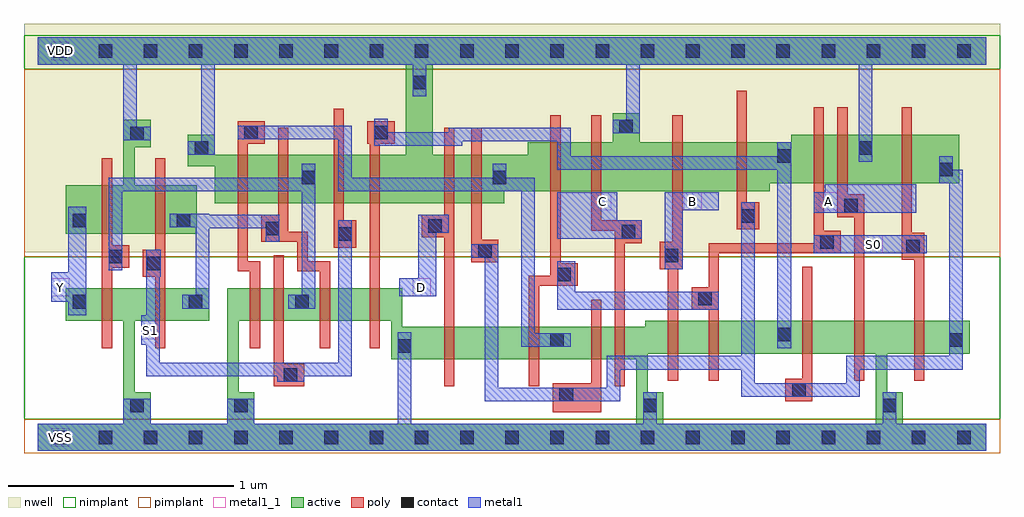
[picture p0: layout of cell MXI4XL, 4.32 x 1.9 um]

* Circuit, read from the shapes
.subckt MXI4XL A B C D S0 S1 VDD VSS Y
M1 VSS n1 Y VSS nfet w=0.145u l=0.045u
M2 n2 S1 VSS VSS nfet w=0.145u l=0.045u
M3 n3 n4 VSS VSS nfet w=0.145u l=0.045u
M4 n1 S1 n3 VSS nfet w=0.145u l=0.045u
M5 n5 n2 n1 VSS nfet w=0.145u l=0.045u
M6 VSS n6 n5 VSS nfet w=0.145u l=0.045u
M7 n7 D VSS VSS nfet w=0.145u l=0.045u
M8 n4 S0 n7 VSS nfet w=0.145u l=0.045u
M9 n8 n9 n4 VSS nfet w=0.145u l=0.045u
M10 VSS C n8 VSS nfet w=0.145u l=0.045u
M11 n10 B VSS VSS nfet w=0.145u l=0.045u
M12 n6 S0 n10 VSS nfet w=0.145u l=0.045u
M13 n11 n9 n6 VSS nfet w=0.145u l=0.045u
M14 VSS A n11 VSS nfet w=0.145u l=0.045u
M15 n9 S0 VSS VSS nfet w=0.145u l=0.045u
M16 VDD n1 Y VDD pfet w=0.215u l=0.045u
M17 n2 S1 VDD VDD pfet w=0.215u l=0.045u
M18 n12 n4 VDD VDD pfet w=0.215u l=0.045u
M19 n1 n2 n12 VDD pfet w=0.215u l=0.045u
M20 n13 S1 n1 VDD pfet w=0.215u l=0.045u
M21 VDD n6 n13 VDD pfet w=0.215u l=0.045u
M22 n14 D VDD VDD pfet w=0.215u l=0.045u
M23 n4 n9 n14 VDD pfet w=0.215u l=0.045u
M24 n15 S0 n4 VDD pfet w=0.215u l=0.045u
M25 VDD C n15 VDD pfet w=0.215u l=0.045u
M26 n16 B VDD VDD pfet w=0.215u l=0.045u
M27 n6 n9 n16 VDD pfet w=0.215u l=0.045u
M28 n17 S0 n6 VDD pfet w=0.215u l=0.045u
M29 VDD A n17 VDD pfet w=0.215u l=0.045u
M30 n9 S0 VDD VDD pfet w=0.215u l=0.045u
.ends

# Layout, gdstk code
import gdstk
lib = gdstk.Library(unit=1e-6, precision=5e-10)
def R(c, l, rs):  # rectangles x0, y0, x1, y1
    for r in rs: c.add(gdstk.rectangle(r[:2], r[2:], *l))
def A(c, l, x, y, w, h, nx, ny, dx, dy):  # array of equal rectangles
    R(c, l, [(x+i*dx, y+j*dy, x+i*dx+w, y+j*dy+h) for i in range(nx) for j in range(ny)])
def P(c, l, *ps):  # polygons
    for p in ps: c.add(gdstk.Polygon(p, *l))
active = (1, 0)
nwell = (2, 0)
poly = (3, 0)
nimplant = (4, 0)
pimplant = (5, 0)
contact = (6, 0)
metal1 = (7, 0)
metal1_1 = (7, 1)

mxi4xl = lib.new_cell('MXI4XL')
P(mxi4xl, active, [(0,1.77),(4.2,1.77),(4.2,1.65),(1.75,1.65),(1.75,1.25),(2.17,1.25),(2.17,1.305),(2.545,1.305),(2.545,1.435),(2.665,1.435),(2.665,1.305),(3.335,1.305),(3.335,1.34),(4.08,1.34),(4.08,1.125),(3.24,1.125),(3.24,1.09),(2.065,1.09),(2.065,1.035),(0.785,1.035),(0.785,1.2),(0.665,1.2),(0.665,1.34),(0.785,1.34),(0.785,1.25),(1.63,1.25),(1.63,1.65),(0,1.65)],
  [(0.38,1.405),(0.5,1.405),(0.5,1.285),(0.43,1.285),(0.43,1.115),(0.705,1.115),(0.705,0.9),(0.125,0.9),(0.125,1.115),(0.38,1.115)],
  [(0.125,0.66),(0.76,0.66),(0.76,0.515),(0.43,0.515),(0.43,0.2),(0.5,0.2),(0.5,0.06),(0.84,0.06),(0.84,0.515),(0.89,0.515),(0.89,0.2),(0.96,0.2),(0.96,0.06),(2.65,0.06),(2.65,0.345),(1.565,0.345),(1.565,0.37),(2.7,0.37),(2.7,0.2),(2.77,0.2),(2.77,0.06),(3.71,0.06),(3.71,0.37),(1.565,0.37),(1.565,0.515),(0.84,0.515),(0.84,0.66),(1.615,0.66),(1.615,0.49),(2.69,0.49),(2.69,0.515),(4.125,0.515),(4.125,0.37),(3.76,0.37),(3.76,0.2),(3.83,0.2),(3.83,0.06),(4.2,0.06),(4.2,-0.06),(0,-0.06),(0,0.06),(0.38,0.06),(0.38,0.515),(0.125,0.515)])
R(mxi4xl, nwell, [(-0.06,0.82,4.26,1.83)])
P(mxi4xl, poly, [(0.885,1.4),(1.005,1.4),(1.005,1.3),(0.93,1.3),(0.93,0.78),(0.985,0.78),(0.985,0.395),(0.94,0.395),(0.94,0.735),(0.885,0.735)],
  [(1.46,1.4),(1.58,1.4),(1.58,1.3),(1.515,1.3),(1.515,0.395),(1.47,0.395),(1.47,1.3),(1.46,1.3)],
  [(0.285,1.235),(0.33,1.235),(0.33,0.85),(0.405,0.85),(0.405,0.75),(0.33,0.75),(0.33,0.395),(0.285,0.395)],
  [(1.065,1.37),(1.11,1.37),(1.11,0.91),(1.195,0.91),(1.195,0.78),(1.295,0.78),(1.295,0.395),(1.25,0.395),(1.25,0.735),(1.15,0.735),(1.15,0.865),(0.99,0.865),(0.99,0.985),(1.065,0.985)],
  [(0.52,1.235),(0.565,1.235),(0.565,0.395),(0.52,0.395),(0.52,0.71),(0.465,0.71),(0.465,0.83),(0.52,0.83)],
  [(1.31,1.455),(1.355,1.455),(1.355,0.96),(1.41,0.96),(1.41,0.84),(1.31,0.84)],
  [(1.8,1.37),(1.845,1.37),(1.845,0.225),(1.8,0.225),(1.8,0.885),(1.7,0.885),(1.7,0.985),(1.8,0.985)],
  [(1.92,1.37),(1.965,1.37),(1.965,0.875),(2.04,0.875),(2.04,0.775),(1.92,0.775)],
  [(2.27,1.425),(2.315,1.425),(2.315,0.77),(2.39,0.77),(2.39,0.67),(2.22,0.67),(2.22,0.225),(2.175,0.225),(2.175,0.715),(2.27,0.715)],
  [(2.45,1.425),(2.495,1.425),(2.495,0.96),(2.675,0.96),(2.675,0.86),(2.6,0.86),(2.6,0.225),(2.555,0.225),(2.555,0.915),(2.45,0.915)],
  [(2.81,1.425),(2.855,1.425),(2.855,0.745),(2.835,0.745),(2.835,0.25),(2.79,0.25),(2.79,0.745),(2.755,0.745),(2.755,0.865),(2.81,0.865)],
  [(3.095,1.535),(3.14,1.535),(3.14,1.04),(3.195,1.04),(3.195,0.92),(3.095,0.92)],
  [(3.435,1.46),(3.48,1.46),(3.48,0.915),(3.555,0.915),(3.555,0.815),(3.015,0.815),(3.015,0.25),(2.97,0.25),(2.97,0.565),(2.895,0.565),(2.895,0.665),(2.97,0.665),(2.97,0.86),(3.435,0.86)],
  [(3.54,1.46),(3.585,1.46),(3.585,1.075),(3.66,1.075),(3.66,0.25),(3.615,0.25),(3.615,0.975),(3.54,0.975)],
  [(3.825,1.46),(3.87,1.46),(3.87,0.905),(3.925,0.905),(3.925,0.25),(3.88,0.25),(3.88,0.785),(3.825,0.785)],
  [(1.045,0.805),(1.09,0.805),(1.09,0.325),(1.18,0.325),(1.18,0.225),(1.045,0.225)],
  [(2.45,0.61),(2.495,0.61),(2.495,0.11),(2.28,0.11),(2.28,0.24),(2.45,0.24)],
  [(3.385,0.755),(3.43,0.755),(3.43,0.16),(3.31,0.16),(3.31,0.26),(3.385,0.26)])
R(mxi4xl, nimplant, [(-0.06,0.08,4.26,0.8), (-0.06,1.63,4.26,1.78)])
R(mxi4xl, pimplant, [(-0.06,-0.07,4.26,0.08), (-0.06,0.8,4.26,1.63)])
A(mxi4xl, contact, 0.07, -0.03, 0.06, 0.06, 21, 2, 0.2, 1.71)
R(mxi4xl, contact, [(0.41,0.11,0.47,0.17), (0.87,0.11,0.93,0.17), (2.68,0.11,2.74,0.17), (3.74,0.11,3.8,0.17), (2.31,0.16,2.37,0.22), (3.34,0.18,3.4,0.24), (1.09,0.245,1.15,0.305), (1.595,0.375,1.655,0.435), (2.27,0.4,2.33,0.46), (4.035,0.4,4.095,0.46), (3.275,0.425,3.335,0.485), (0.155,0.57,0.215,0.63), (0.67,0.57,0.73,0.63), (1.14,0.57,1.2,0.63), (2.925,0.585,2.985,0.645), (2.3,0.69,2.36,0.75), (0.485,0.74,0.545,0.8), (0.315,0.77,0.375,0.83), (2.775,0.775,2.835,0.835), (1.95,0.795,2.01,0.855), (3.845,0.815,3.905,0.875), (3.465,0.835,3.525,0.895), (1.33,0.87,1.39,0.93), (2.585,0.88,2.645,0.94), (1.01,0.895,1.07,0.955), (1.73,0.905,1.79,0.965), (0.155,0.93,0.215,0.99), (0.615,0.93,0.675,0.99), (3.115,0.95,3.175,1.01), (3.57,0.995,3.63,1.055), (1.17,1.12,1.23,1.18), (2.015,1.12,2.075,1.18), (3.99,1.155,4.05,1.215), (3.275,1.215,3.335,1.275), (0.695,1.25,0.755,1.31), (3.635,1.25,3.695,1.31), (0.41,1.315,0.47,1.375), (0.915,1.32,0.975,1.38), (1.49,1.32,1.55,1.38), (2.575,1.345,2.635,1.405), (1.66,1.54,1.72,1.6)])
R(mxi4xl, metal1, [(3.435,0.815,3.935,0.895)])
P(mxi4xl, metal1, [(0,1.77),(4.2,1.77),(4.2,1.65),(3.695,1.65),(3.695,1.22),(3.635,1.22),(3.635,1.65),(2.665,1.65),(2.665,1.345),(2.545,1.345),(2.545,1.405),(2.605,1.405),(2.605,1.65),(1.72,1.65),(1.72,1.51),(1.66,1.51),(1.66,1.65),(0.785,1.65),(0.785,1.25),(0.665,1.25),(0.665,1.31),(0.725,1.31),(0.725,1.65),(0.44,1.65),(0.44,1.375),(0.5,1.375),(0.5,1.315),(0.38,1.315),(0.38,1.65),(0,1.65)],
  [(0.885,1.38),(1.39,1.38),(1.39,1.15),(2.015,1.15),(2.015,1.21),(2.075,1.21),(2.075,1.15),(2.2,1.15),(2.2,0.46),(2.36,0.46),(2.36,0.4),(2.14,0.4),(2.14,1.09),(1.33,1.09),(1.33,1.32),(0.885,1.32)],
  [(1.49,1.41),(1.55,1.41),(1.55,1.35),(1.82,1.35),(1.82,1.37),(2.36,1.37),(2.36,1.245),(3.275,1.245),(3.275,1.305),(3.335,1.305),(3.335,0.395),(3.275,0.395),(3.275,1.185),(2.3,1.185),(2.3,1.31),(1.88,1.31),(1.88,1.29),(1.49,1.29)],
  [(1.17,1.21),(1.23,1.21),(1.23,0.57),(1.11,0.57),(1.11,0.63),(1.17,0.63),(1.17,1.09),(0.375,1.09),(0.375,0.74),(0.315,0.74),(0.315,1.15),(1.17,1.15)],
  [(3.99,1.245),(4.05,1.245),(4.05,1.185),(4.095,1.185),(4.095,0.3),(3.64,0.3),(3.64,0.18),(3.115,0.18),(3.115,0.3),(2.58,0.3),(2.58,0.16),(1.98,0.16),(1.98,0.795),(1.92,0.795),(1.92,0.855),(2.04,0.855),(2.04,0.22),(2.52,0.22),(2.52,0.36),(3.115,0.36),(3.115,1.04),(3.175,1.04),(3.175,0.24),(3.58,0.24),(3.58,0.36),(4.035,0.36),(4.035,1.125),(3.99,1.125)],
  [(0.135,1.02),(0.215,1.02),(0.215,0.54),(0.135,0.54),(0.135,0.6),(0.06,0.6),(0.06,0.73),(0.135,0.73)],
  [(0.585,0.99),(0.76,0.99),(0.76,0.985),(1.07,0.985),(1.07,0.865),(1.01,0.865),(1.01,0.925),(0.76,0.925),(0.76,0.57),(0.64,0.57),(0.64,0.63),(0.7,0.63),(0.7,0.93),(0.585,0.93)],
  [(0.48,0.83),(0.545,0.83),(0.545,0.71),(0.54,0.71),(0.54,0.33),(1.33,0.33),(1.33,0.96),(1.39,0.96),(1.39,0.27),(1.18,0.27),(1.18,0.245),(1.06,0.245),(1.06,0.27),(0.48,0.27),(0.48,0.41),(0.46,0.41),(0.46,0.54),(0.48,0.54)],
  [(1.685,0.985),(1.82,0.985),(1.82,0.905),(1.765,0.905),(1.765,0.625),(1.6,0.625),(1.6,0.705),(1.685,0.705)],
  [(0.38,0.17),(0.5,0.17),(0.5,0.06),(0.84,0.06),(0.84,0.17),(0.96,0.17),(0.96,0.06),(1.595,0.06),(1.595,0.465),(1.655,0.465),(1.655,0.06),(2.68,0.06),(2.68,0.2),(2.74,0.2),(2.74,0.06),(3.74,0.06),(3.74,0.2),(3.8,0.2),(3.8,0.06),(4.2,0.06),(4.2,-0.06),(0,-0.06),(0,0.06),(0.38,0.06)],
  [(2.3,1.085),(2.565,1.085),(2.565,0.96),(2.675,0.96),(2.675,0.88),(2.3,0.88)],
  [(2.775,1.085),(3.015,1.085),(3.015,1.005),(2.855,1.005),(2.855,0.745),(2.775,0.745)],
  [(2.3,0.78),(2.38,0.78),(2.38,0.645),(3.015,0.645),(3.015,0.565),(2.3,0.565)],
  [(3.485,1.12),(3.89,1.12),(3.89,0.995),(3.435,0.995),(3.435,1.085),(3.485,1.085)])
R(mxi4xl, metal1_1, [(0.06,-0.04,0.14,0.04), (0.46,0.435,0.54,0.515), (0.06,0.625,0.14,0.705), (1.66,0.625,1.74,0.705), (3.66,0.815,3.74,0.895), (2.46,1.005,2.54,1.085), (2.86,1.005,2.94,1.085), (3.46,1.005,3.54,1.085), (0.06,1.67,0.14,1.75)])
mxi4xl.add(gdstk.Label('Y', (0.1,0.665), layer=7, texttype=1))
mxi4xl.add(gdstk.Label('S0', (3.7,0.855), layer=7, texttype=1))
mxi4xl.add(gdstk.Label('A', (3.5,1.045), layer=7, texttype=1))
mxi4xl.add(gdstk.Label('B', (2.9,1.045), layer=7, texttype=1))
mxi4xl.add(gdstk.Label('C', (2.5,1.045), layer=7, texttype=1))
mxi4xl.add(gdstk.Label('D', (1.7,0.665), layer=7, texttype=1))
mxi4xl.add(gdstk.Label('S1', (0.5,0.475), layer=7, texttype=1))
mxi4xl.add(gdstk.Label('VDD', (0.1,1.71), layer=7, texttype=1))
mxi4xl.add(gdstk.Label('VSS', (0.1,0), layer=7, texttype=1))
mxi4xl.add(gdstk.Label('MXI4XL', (0,0), layer=63, texttype=0))

lib.write_gds('MXI4XL.gds')
